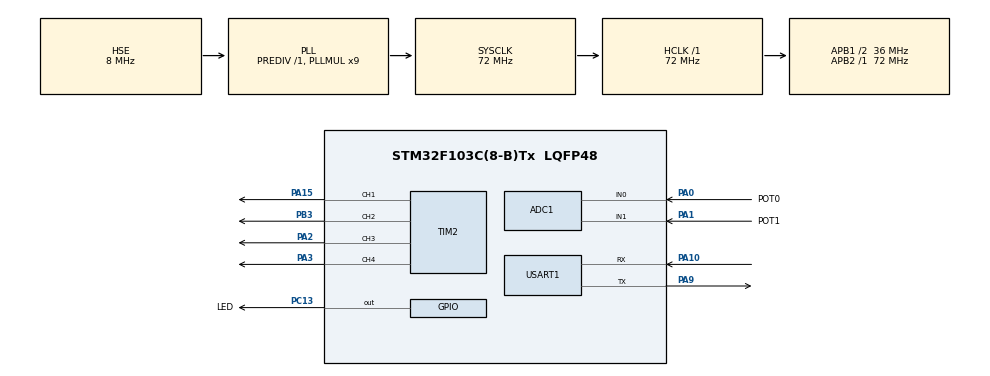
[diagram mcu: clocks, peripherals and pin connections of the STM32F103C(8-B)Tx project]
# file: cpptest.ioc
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ADC1.Channel-1\#ChannelRegularConversion=ADC_CHANNEL_0
ADC1.ContinuousConvMode=DISABLE
ADC1.EnableRegularConversion=ENABLE
ADC1.NbrOfConversionFlag=1
ADC1.Rank-1\#ChannelRegularConversion=1
ADC1.SamplingTime-1\#ChannelRegularConversion=ADC_SAMPLETIME_1CYCLE_5
ADC1.master=1
Dma.Request0=USART1_TX
Dma.USART1_TX.0.Direction=DMA_MEMORY_TO_PERIPH
Dma.USART1_TX.0.Instance=DMA1_Channel4
Dma.USART1_TX.0.MemDataAlignment=DMA_MDATAALIGN_BYTE
Dma.USART1_TX.0.MemInc=DMA_MINC_ENABLE
Dma.USART1_TX.0.Mode=DMA_NORMAL
Dma.USART1_TX.0.PeriphDataAlignment=DMA_PDATAALIGN_BYTE
Dma.USART1_TX.0.PeriphInc=DMA_PINC_DISABLE
Dma.USART1_TX.0.Priority=DMA_PRIORITY_MEDIUM
Mcu.Family=STM32F1
Mcu.Name=STM32F103C(8-B)Tx
Mcu.Package=LQFP48
NVIC.DMA1_Channel4_IRQn=true\:0\:0\:false\:false\:true\:false\:true\:true
NVIC.PriorityGroup=NVIC_PRIORITYGROUP_4
NVIC.USART1_IRQn=true\:0\:0\:false\:false\:true\:true\:true\:true
PA0-WKUP.GPIO_Label=POT0
PA0-WKUP.Signal=ADCx_IN0
PA1.GPIO_Label=POT1
PA1.Signal=ADCx_IN1
PA10.Mode=Asynchronous
PA10.Signal=USART1_RX
PA13.Mode=Serial_Wire
PA13.Signal=SYS_JTMS-SWDIO
PA14.Mode=Serial_Wire
PA14.Signal=SYS_JTCK-SWCLK
PA15.Signal=S_TIM2_CH1_ETR
PA2.Signal=S_TIM2_CH3
PA3.Signal=S_TIM2_CH4
PA9.Mode=Asynchronous
PA9.Signal=USART1_TX
PB3.Signal=S_TIM2_CH2
PC13-TAMPER-RTC.GPIO_Label=LED
PC13-TAMPER-RTC.PinState=GPIO_PIN_SET
PC13-TAMPER-RTC.Signal=GPIO_Output
PD0-OSC_IN.Mode=HSE-External-Oscillator
PD0-OSC_IN.Signal=RCC_OSC_IN
PD1-OSC_OUT.Mode=HSE-External-Oscillator
PD1-OSC_OUT.Signal=RCC_OSC_OUT
ProjectManager.HeapSize=0x200
ProjectManager.StackSize=0x400
ProjectManager.TargetToolchain=STM32CubeIDE
RCC.ADCPresc=RCC_ADCPCLK2_DIV6
RCC.AHBFreq_Value=72000000
RCC.APB1CLKDivider=RCC_HCLK_DIV2
RCC.APB1Freq_Value=36000000
RCC.APB1TimFreq_Value=72000000
RCC.APB2Freq_Value=72000000
RCC.APB2TimFreq_Value=72000000
RCC.HCLKFreq_Value=72000000
RCC.PLLMUL=RCC_PLL_MUL9
RCC.PLLSourceVirtual=RCC_PLLSOURCE_HSE
RCC.SYSCLKFreq_VALUE=72000000
RCC.SYSCLKSource=RCC_SYSCLKSOURCE_PLLCLK
RCC.USBFreq_Value=72000000
SH.ADCx_IN0.0=ADC1_IN0,IN0
SH.ADCx_IN1.0=ADC1_IN1,IN1
SH.S_TIM2_CH1_ETR.0=TIM2_CH1,PWM Generation1 CH1
SH.S_TIM2_CH2.0=TIM2_CH2,PWM Generation2 CH2
SH.S_TIM2_CH3.0=TIM2_CH3,PWM Generation3 CH3
SH.S_TIM2_CH4.0=TIM2_CH4,PWM Generation4 CH4
TIM2.Channel-PWM\ Generation1\ CH1=TIM_CHANNEL_1
TIM2.Channel-PWM\ Generation2\ CH2=TIM_CHANNEL_2
TIM2.Channel-PWM\ Generation3\ CH3=TIM_CHANNEL_3
TIM2.Channel-PWM\ Generation4\ CH4=TIM_CHANNEL_4
TIM2.Pulse-PWM\ Generation1\ CH1=10000
TIM2.Pulse-PWM\ Generation2\ CH2=20000
TIM2.Pulse-PWM\ Generation3\ CH3=30000
TIM2.Pulse-PWM\ Generation4\ CH4=40000
USART1.VirtualMode=VM_ASYNC
VP_ADC1_TempSens_Input.Mode=IN-TempSens
VP_TIM2_VS_ClockSourceINT.Mode=Internal
board=custom

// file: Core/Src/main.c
/* USER CODE BEGIN Header */
/**
 ******************************************************************************
 * @file           : main.c
 * @brief          : Main program body
 ******************************************************************************
 * @attention
 *
 * Copyright (c) 2022 STMicroelectronics.
 * All rights reserved.
 *
 * This software is licensed under terms that can be found in the LICENSE file
 * in the root directory of this software component.
 * If no LICENSE file comes with this software, it is provided AS-IS.
 *
 ******************************************************************************
 */
/* USER CODE END Header */
#include "main.h"

ADC_HandleTypeDef hadc1;

TIM_HandleTypeDef htim2;

UART_HandleTypeDef huart1;
DMA_HandleTypeDef hdma_usart1_tx;

void SystemClock_Config(void);
static void MX_GPIO_Init(void);
static void MX_DMA_Init(void);
static void MX_USART1_UART_Init(void);
static void MX_ADC1_Init(void);
static void MX_TIM2_Init(void);

/* USER CODE BEGIN 0 */
uint16_t val1, val2, val3,val4;
uint8_t buff[100];
uint8_t len;

uint8_t rxbuff;

void HAL_UART_RxCpltCallback(UART_HandleTypeDef *huart){
	HAL_UART_Receive_IT(&huart1, &rxbuff, 1);
	HAL_GPIO_TogglePin(LED_GPIO_Port, LED_Pin);
}
/* USER CODE END 0 */

int main(void)
{

  /* MCU Configuration--------------------------------------------------------*/

  /* Reset of all peripherals, Initializes the Flash interface and the Systick. */
  HAL_Init();

  /* Configure the system clock */
  SystemClock_Config();

  /* Initialize all configured peripherals */
  MX_GPIO_Init();
  MX_DMA_Init();
  MX_USART1_UART_Init();
  MX_ADC1_Init();
  MX_TIM2_Init();
  /* USER CODE BEGIN 2 */

	// enable pwren and bkpen in rcc_apb1enr
	// enable dbp in pwr_cr
	__HAL_RCC_PWR_CLK_ENABLE();
	__HAL_RCC_BKP_CLK_ENABLE();
	HAL_PWR_EnableBkUpAccess();
	CLEAR_BIT(BKP->RTCCR, BKP_RTCCR_ASOE);
	HAL_PWR_DisableBkUpAccess();
	__HAL_RCC_BKP_CLK_DISABLE();
	__HAL_RCC_PWR_CLK_DISABLE();

	HAL_ADCEx_Calibration_Start(&hadc1);

	HAL_UART_Transmit(&huart1, "Start", sizeof("Start"), 10);
	HAL_TIM_Base_Start(&htim2);
	HAL_TIM_PWM_Start(&htim2, TIM_CHANNEL_1);
	HAL_TIM_PWM_Start(&htim2, TIM_CHANNEL_2);
	HAL_TIM_PWM_Start(&htim2, TIM_CHANNEL_3);
	HAL_TIM_PWM_Start(&htim2, TIM_CHANNEL_4);
	//HAL_TIM_PWM_ConfigChannel(&htim2, sConfig, 1);

	HAL_UART_Receive_IT(&huart1, &rxbuff, 1);
  /* USER CODE END 2 */

  /* Infinite loop */
	while (1) {

    /* USER CODE BEGIN 3 */
		//HAL_GPIO_TogglePin(LED_GPIO_Port, LED_Pin);
		HAL_Delay(100);

		HAL_ADC_Start(&hadc1);

		ADC_ChannelConfTypeDef sConfig;
		sConfig.Channel = ADC_CHANNEL_0;
		sConfig.Rank = ADC_REGULAR_RANK_1;
		sConfig.SamplingTime = ADC_SAMPLETIME_239CYCLES_5;
		HAL_ADC_ConfigChannel(&hadc1, &sConfig);

		HAL_ADC_PollForConversion(&hadc1, 10);
		val1 = HAL_ADC_GetValue(&hadc1);

		HAL_ADC_Stop(&hadc1);
		HAL_ADC_Start(&hadc1);

		//ADC_ChannelConfTypeDef sConfig;

		sConfig.Channel = ADC_CHANNEL_1;
		sConfig.Rank = ADC_REGULAR_RANK_1;
		sConfig.SamplingTime = ADC_SAMPLETIME_239CYCLES_5;
		HAL_ADC_ConfigChannel(&hadc1, &sConfig);

		HAL_ADC_PollForConversion(&hadc1, 10);
		val2 = HAL_ADC_GetValue(&hadc1);
		HAL_ADC_Stop(&hadc1);

		HAL_ADC_Start(&hadc1);

		//ADC_ChannelConfTypeDef sConfig;

		sConfig.Channel = ADC_CHANNEL_TEMPSENSOR;
		sConfig.Rank = ADC_REGULAR_RANK_1;
		sConfig.SamplingTime = ADC_SAMPLETIME_239CYCLES_5;
		HAL_ADC_ConfigChannel(&hadc1, &sConfig);

		HAL_ADC_PollForConversion(&hadc1, 10);
		val3 = HAL_ADC_GetValue(&hadc1);
		HAL_ADC_Stop(&hadc1);

		HAL_ADC_Start(&hadc1);

		//ADC_ChannelConfTypeDef sConfig;

		sConfig.Channel = ADC_CHANNEL_VREFINT;
		sConfig.Rank = ADC_REGULAR_RANK_1;
		sConfig.SamplingTime = ADC_SAMPLETIME_239CYCLES_5;
		HAL_ADC_ConfigChannel(&hadc1, &sConfig);

		HAL_ADC_PollForConversion(&hadc1, 10);
		val4 = HAL_ADC_GetValue(&hadc1);
		HAL_ADC_Stop(&hadc1);

if(0){
		len = sprintf(buff, "%4d %4d\n", val1, val2);
		HAL_UART_Transmit(&huart1, buff, len, 10);
}else{
	buff[0] = 0x80;
	buff[1] = (val1>>7)&0x1f;
	buff[2] = (val1)&0x7f;

	buff[3] = 0x81;
	buff[4] = (val2>>7)&0x1f;
	buff[5] = (val2)&0x7f;

	buff[6] = 0x82;
	buff[7] = (val3>>7)&0x1f;
	buff[8] = (val3)&0x7f;

	buff[9] = 0x83;
	buff[10] = (val4>>7)&0x1f;
	buff[11] = (val4)&0x7f;

	HAL_UART_Transmit(&huart1, buff, 12, 10);

}

	}
  /* USER CODE END 3 */
}

void SystemClock_Config(void)
{
  RCC_OscInitTypeDef RCC_OscInitStruct = {0};
  RCC_ClkInitTypeDef RCC_ClkInitStruct = {0};
  RCC_PeriphCLKInitTypeDef PeriphClkInit = {0};

  /** Initializes the RCC Oscillators according to the specified parameters
  * in the RCC_OscInitTypeDef structure.
  */
  RCC_OscInitStruct.OscillatorType = RCC_OSCILLATORTYPE_HSE;
  RCC_OscInitStruct.HSEState = RCC_HSE_ON;
  RCC_OscInitStruct.HSEPredivValue = RCC_HSE_PREDIV_DIV1;
  RCC_OscInitStruct.HSIState = RCC_HSI_ON;
  RCC_OscInitStruct.PLL.PLLState = RCC_PLL_ON;
  RCC_OscInitStruct.PLL.PLLSource = RCC_PLLSOURCE_HSE;
  RCC_OscInitStruct.PLL.PLLMUL = RCC_PLL_MUL9;
  if (HAL_RCC_OscConfig(&RCC_OscInitStruct) != HAL_OK)
  {
    Error_Handler();
  }

  /** Initializes the CPU, AHB and APB buses clocks
  */
  RCC_ClkInitStruct.ClockType = RCC_CLOCKTYPE_HCLK|RCC_CLOCKTYPE_SYSCLK
                              |RCC_CLOCKTYPE_PCLK1|RCC_CLOCKTYPE_PCLK2;
  RCC_ClkInitStruct.SYSCLKSource = RCC_SYSCLKSOURCE_PLLCLK;
  RCC_ClkInitStruct.AHBCLKDivider = RCC_SYSCLK_DIV1;
  RCC_ClkInitStruct.APB1CLKDivider = RCC_HCLK_DIV2;
  RCC_ClkInitStruct.APB2CLKDivider = RCC_HCLK_DIV1;

  if (HAL_RCC_ClockConfig(&RCC_ClkInitStruct, FLASH_LATENCY_2) != HAL_OK)
  {
    Error_Handler();
  }
  PeriphClkInit.PeriphClockSelection = RCC_PERIPHCLK_ADC;
  PeriphClkInit.AdcClockSelection = RCC_ADCPCLK2_DIV6;
  if (HAL_RCCEx_PeriphCLKConfig(&PeriphClkInit) != HAL_OK)
  {
    Error_Handler();
  }
}

static void MX_ADC1_Init(void)
{

  ADC_ChannelConfTypeDef sConfig = {0};

  /** Common config
  */
  hadc1.Instance = ADC1;
  hadc1.Init.ScanConvMode = ADC_SCAN_DISABLE;
  hadc1.Init.ContinuousConvMode = DISABLE;
  hadc1.Init.DiscontinuousConvMode = DISABLE;
  hadc1.Init.ExternalTrigConv = ADC_SOFTWARE_START;
  hadc1.Init.DataAlign = ADC_DATAALIGN_RIGHT;
  hadc1.Init.NbrOfConversion = 1;
  if (HAL_ADC_Init(&hadc1) != HAL_OK)
  {
    Error_Handler();
  }

  /** Configure Regular Channel
  */
  sConfig.Channel = ADC_CHANNEL_0;
  sConfig.Rank = ADC_REGULAR_RANK_1;
  sConfig.SamplingTime = ADC_SAMPLETIME_1CYCLE_5;
  if (HAL_ADC_ConfigChannel(&hadc1, &sConfig) != HAL_OK)
  {
    Error_Handler();
  }

}

static void MX_TIM2_Init(void)
{

  TIM_ClockConfigTypeDef sClockSourceConfig = {0};
  TIM_MasterConfigTypeDef sMasterConfig = {0};
  TIM_OC_InitTypeDef sConfigOC = {0};

  htim2.Instance = TIM2;
  htim2.Init.Prescaler = 0;
  htim2.Init.CounterMode = TIM_COUNTERMODE_UP;
  htim2.Init.Period = 65535;
  htim2.Init.ClockDivision = TIM_CLOCKDIVISION_DIV1;
  htim2.Init.AutoReloadPreload = TIM_AUTORELOAD_PRELOAD_DISABLE;
  if (HAL_TIM_Base_Init(&htim2) != HAL_OK)
  {
    Error_Handler();
  }
  sClockSourceConfig.ClockSource = TIM_CLOCKSOURCE_INTERNAL;
  if (HAL_TIM_ConfigClockSource(&htim2, &sClockSourceConfig) != HAL_OK)
  {
    Error_Handler();
  }
  if (HAL_TIM_PWM_Init(&htim2) != HAL_OK)
  {
    Error_Handler();
  }
  sMasterConfig.MasterOutputTrigger = TIM_TRGO_RESET;
  sMasterConfig.MasterSlaveMode = TIM_MASTERSLAVEMODE_DISABLE;
  if (HAL_TIMEx_MasterConfigSynchronization(&htim2, &sMasterConfig) != HAL_OK)
  {
    Error_Handler();
  }
  sConfigOC.OCMode = TIM_OCMODE_PWM1;
  sConfigOC.Pulse = 10000;
  sConfigOC.OCPolarity = TIM_OCPOLARITY_HIGH;
  sConfigOC.OCFastMode = TIM_OCFAST_DISABLE;
  if (HAL_TIM_PWM_ConfigChannel(&htim2, &sConfigOC, TIM_CHANNEL_1) != HAL_OK)
  {
    Error_Handler();
  }
  sConfigOC.Pulse = 20000;
  if (HAL_TIM_PWM_ConfigChannel(&htim2, &sConfigOC, TIM_CHANNEL_2) != HAL_OK)
  {
    Error_Handler();
  }
  sConfigOC.Pulse = 30000;
  if (HAL_TIM_PWM_ConfigChannel(&htim2, &sConfigOC, TIM_CHANNEL_3) != HAL_OK)
  {
    Error_Handler();
  }
  sConfigOC.Pulse = 40000;
  if (HAL_TIM_PWM_ConfigChannel(&htim2, &sConfigOC, TIM_CHANNEL_4) != HAL_OK)
  {
    Error_Handler();
  }
  HAL_TIM_MspPostInit(&htim2);

}

static void MX_USART1_UART_Init(void)
{

  huart1.Instance = USART1;
  huart1.Init.BaudRate = 115200;
  huart1.Init.WordLength = UART_WORDLENGTH_8B;
  huart1.Init.StopBits = UART_STOPBITS_1;
  huart1.Init.Parity = UART_PARITY_NONE;
  huart1.Init.Mode = UART_MODE_TX_RX;
  huart1.Init.HwFlowCtl = UART_HWCONTROL_NONE;
  huart1.Init.OverSampling = UART_OVERSAMPLING_16;
  if (HAL_UART_Init(&huart1) != HAL_OK)
  {
    Error_Handler();
  }

}

static void MX_DMA_Init(void)
{

  /* DMA controller clock enable */
  __HAL_RCC_DMA1_CLK_ENABLE();

  /* DMA interrupt init */
  /* DMA1_Channel4_IRQn interrupt configuration */
  HAL_NVIC_SetPriority(DMA1_Channel4_IRQn, 0, 0);
  HAL_NVIC_EnableIRQ(DMA1_Channel4_IRQn);

}

static void MX_GPIO_Init(void)
{
  GPIO_InitTypeDef GPIO_InitStruct = {0};

  /* GPIO Ports Clock Enable */
  __HAL_RCC_GPIOC_CLK_ENABLE();
  __HAL_RCC_GPIOD_CLK_ENABLE();
  __HAL_RCC_GPIOA_CLK_ENABLE();
  __HAL_RCC_GPIOB_CLK_ENABLE();

  /*Configure GPIO pin Output Level */
  HAL_GPIO_WritePin(LED_GPIO_Port, LED_Pin, GPIO_PIN_SET);

  /*Configure GPIO pin : LED_Pin */
  GPIO_InitStruct.Pin = LED_Pin;
  GPIO_InitStruct.Mode = GPIO_MODE_OUTPUT_PP;
  GPIO_InitStruct.Pull = GPIO_NOPULL;
  GPIO_InitStruct.Speed = GPIO_SPEED_FREQ_LOW;
  HAL_GPIO_Init(LED_GPIO_Port, &GPIO_InitStruct);

}

void Error_Handler(void)
{
	__disable_irq();
	while (1) {
	}
}
